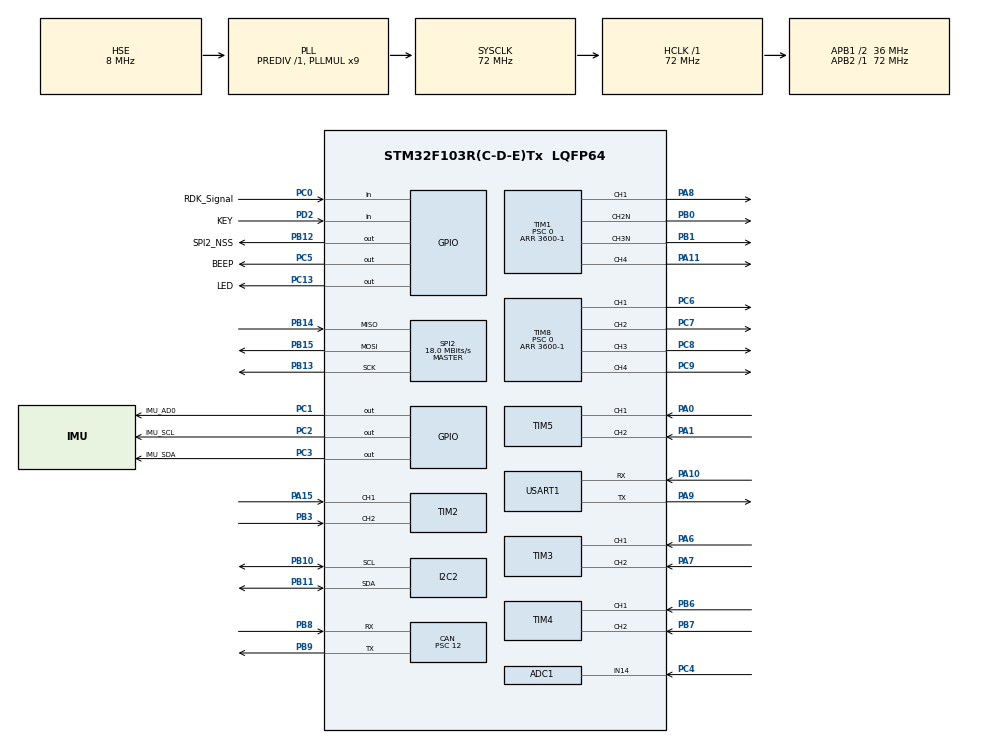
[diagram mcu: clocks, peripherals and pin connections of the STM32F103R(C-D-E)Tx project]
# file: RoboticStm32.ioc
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ADC1.Channel-0\#ChannelRegularConversion=ADC_CHANNEL_14
ADC1.ContinuousConvMode=ENABLE
ADC1.NbrOfConversion=1
ADC1.NbrOfConversionFlag=1
ADC1.Rank-0\#ChannelRegularConversion=1
ADC1.SamplingTime-0\#ChannelRegularConversion=ADC_SAMPLETIME_239CYCLES_5
ADC1.master=1
CAN.ABOM=ENABLE
CAN.BS1=CAN_BS1_2TQ
CAN.BS2=CAN_BS2_3TQ
CAN.CalculateBaudRate=499999
CAN.CalculateTimeBit=2000
CAN.CalculateTimeQuantum=333.33333333333337
CAN.Mode=CAN_MODE_NORMAL
CAN.NART=ENABLE
CAN.Prescaler=12
CAN.SJW=CAN_SJW_2TQ
Dma.Request0=USART1_TX
Dma.USART1_TX.0.Direction=DMA_MEMORY_TO_PERIPH
Dma.USART1_TX.0.Instance=DMA1_Channel4
Dma.USART1_TX.0.MemDataAlignment=DMA_MDATAALIGN_BYTE
Dma.USART1_TX.0.MemInc=DMA_MINC_ENABLE
Dma.USART1_TX.0.Mode=DMA_NORMAL
Dma.USART1_TX.0.PeriphDataAlignment=DMA_PDATAALIGN_BYTE
Dma.USART1_TX.0.PeriphInc=DMA_PINC_DISABLE
Dma.USART1_TX.0.Priority=DMA_PRIORITY_LOW
FREERTOS.Tasks01=defaultTask,24,128,StartDefaultTask,Default,NULL,Dynamic,NULL,NULL
FREERTOS.configTOTAL_HEAP_SIZE=20000
FREERTOS.configUSE_NEWLIB_REENTRANT=1
Mcu.Family=STM32F1
Mcu.Name=STM32F103R(C-D-E)Tx
Mcu.Package=LQFP64
NVIC.DMA1_Channel4_IRQn=true\:5\:0\:false\:false\:true\:true\:false\:true\:true
NVIC.PriorityGroup=NVIC_PRIORITYGROUP_4
NVIC.TIM6_IRQn=true\:15\:0\:false\:false\:true\:false\:false\:true\:true
NVIC.TimeBase=TIM6_IRQn
NVIC.TimeBaseIP=TIM6
NVIC.USB_LP_CAN1_RX0_IRQn=true\:5\:0\:false\:false\:true\:true\:true\:true\:true
PA0-WKUP.Signal=S_TIM5_CH1
PA1.Signal=S_TIM5_CH2
PA10.Mode=Asynchronous
PA10.Signal=USART1_RX
PA11.Signal=S_TIM1_CH4
PA13.Mode=Serial_Wire
PA13.Signal=SYS_JTMS-SWDIO
PA14.Mode=Serial_Wire
PA14.Signal=SYS_JTCK-SWCLK
PA15.Signal=S_TIM2_CH1_ETR
PA6.Signal=S_TIM3_CH1
PA7.Signal=S_TIM3_CH2
PA8.Signal=S_TIM1_CH1
PA9.Mode=Asynchronous
PA9.Signal=USART1_TX
PB0.Mode=PWM Generation2 CH2N
PB0.Signal=TIM1_CH2N
PB1.Mode=PWM Generation3 CH3N
PB1.Signal=TIM1_CH3N
PB10.Mode=I2C
PB10.Signal=I2C2_SCL
PB11.Mode=I2C
PB11.Signal=I2C2_SDA
PB12.GPIO_Label=SPI2_NSS
PB12.GPIO_PuPd=GPIO_NOPULL
PB12.GPIO_Speed=GPIO_SPEED_FREQ_HIGH
PB12.PinState=GPIO_PIN_SET
PB12.Signal=GPIO_Output
PB13.Mode=Full_Duplex_Master
PB13.Signal=SPI2_SCK
PB14.Mode=Full_Duplex_Master
PB14.Signal=SPI2_MISO
PB15.Mode=Full_Duplex_Master
PB15.Signal=SPI2_MOSI
PB3.Signal=S_TIM2_CH2
PB6.Signal=S_TIM4_CH1
PB7.Signal=S_TIM4_CH2
PB8.Mode=CAN_Activate
PB8.Signal=CAN_RX
PB9.Mode=CAN_Activate
PB9.Signal=CAN_TX
PC0.GPIO_Label=RDK_Signal
PC0.GPIO_PuPd=GPIO_PULLDOWN
PC0.Signal=GPIO_Input
PC1.GPIO_Label=IMU_AD0
PC1.Signal=GPIO_Output
PC13-TAMPER-RTC.GPIO_Label=LED
PC13-TAMPER-RTC.Signal=GPIO_Output
PC2.GPIO_Label=IMU_SCL
PC2.GPIO_ModeDefaultOutputPP=GPIO_MODE_OUTPUT_OD
PC2.GPIO_PuPd=GPIO_PULLUP
PC2.GPIO_Speed=GPIO_SPEED_FREQ_LOW
PC2.PinState=GPIO_PIN_SET
PC2.Signal=GPIO_Output
PC3.GPIO_Label=IMU_SDA
PC3.GPIO_ModeDefaultOutputPP=GPIO_MODE_OUTPUT_OD
PC3.GPIO_PuPd=GPIO_PULLUP
PC3.GPIO_Speed=GPIO_SPEED_FREQ_LOW
PC3.PinState=GPIO_PIN_SET
PC3.Signal=GPIO_Output
PC4.Signal=ADCx_IN14
PC5.GPIO_Label=BEEP
PC5.GPIO_Speed=GPIO_SPEED_FREQ_LOW
PC5.Signal=GPIO_Output
PC6.Signal=S_TIM8_CH1
PC7.Signal=S_TIM8_CH2
PC8.Signal=S_TIM8_CH3
PC9.Signal=S_TIM8_CH4
PD0-OSC_IN.Mode=HSE-External-Oscillator
PD0-OSC_IN.Signal=RCC_OSC_IN
PD1-OSC_OUT.Mode=HSE-External-Oscillator
PD1-OSC_OUT.Signal=RCC_OSC_OUT
PD2.GPIO_Label=KEY
PD2.GPIO_PuPd=GPIO_PULLUP
PD2.Signal=GPIO_Input
ProjectManager.HeapSize=0x200
ProjectManager.StackSize=0x400
ProjectManager.TargetToolchain=STM32CubeIDE
RCC.ADCPresc=RCC_ADCPCLK2_DIV6
RCC.AHBFreq_Value=72000000
RCC.APB1CLKDivider=RCC_HCLK_DIV2
RCC.APB1Freq_Value=36000000
RCC.APB1TimFreq_Value=72000000
RCC.APB2Freq_Value=72000000
RCC.APB2TimFreq_Value=72000000
RCC.HCLKFreq_Value=72000000
RCC.PLLMUL=RCC_PLL_MUL9
RCC.PLLSourceVirtual=RCC_PLLSOURCE_HSE
RCC.SYSCLKFreq_VALUE=72000000
RCC.SYSCLKSource=RCC_SYSCLKSOURCE_PLLCLK
RCC.USBFreq_Value=72000000
SH.ADCx_IN14.0=ADC1_IN14,IN14
SH.S_TIM1_CH1.0=TIM1_CH1,PWM Generation1 CH1
SH.S_TIM1_CH4.0=TIM1_CH4,PWM Generation4 CH4
SH.S_TIM2_CH1_ETR.0=TIM2_CH1,Encoder_Interface
SH.S_TIM2_CH2.0=TIM2_CH2,Encoder_Interface
SH.S_TIM3_CH1.0=TIM3_CH1,Encoder_Interface
SH.S_TIM3_CH2.0=TIM3_CH2,Encoder_Interface
SH.S_TIM4_CH1.0=TIM4_CH1,Encoder_Interface
SH.S_TIM4_CH2.0=TIM4_CH2,Encoder_Interface
SH.S_TIM5_CH1.0=TIM5_CH1,Encoder_Interface
SH.S_TIM5_CH2.0=TIM5_CH2,Encoder_Interface
SH.S_TIM8_CH1.0=TIM8_CH1,PWM Generation1 CH1
SH.S_TIM8_CH2.0=TIM8_CH2,PWM Generation2 CH2
SH.S_TIM8_CH3.0=TIM8_CH3,PWM Generation3 CH3
SH.S_TIM8_CH4.0=TIM8_CH4,PWM Generation4 CH4
SPI2.BaudRatePrescaler=SPI_BAUDRATEPRESCALER_2
SPI2.CalculateBaudRate=18.0 MBits/s
SPI2.Direction=SPI_DIRECTION_2LINES
SPI2.Mode=SPI_MODE_MASTER
SPI2.VirtualType=VM_MASTER
TIM1.AutoReloadPreload=TIM_AUTORELOAD_PRELOAD_ENABLE
TIM1.Channel-PWM\ Generation1\ CH1=TIM_CHANNEL_1
TIM1.Channel-PWM\ Generation2\ CH2N=TIM_CHANNEL_2
TIM1.Channel-PWM\ Generation3\ CH3N=TIM_CHANNEL_3
TIM1.Channel-PWM\ Generation4\ CH4=TIM_CHANNEL_4
TIM1.Period=3600-1
TIM1.Prescaler=0
TIM2.AutoReloadPreload=TIM_AUTORELOAD_PRELOAD_ENABLE
TIM2.EncoderMode=TIM_ENCODERMODE_TI12
TIM2.IC1Filter=0xf
TIM2.IC1Polarity=TIM_ICPOLARITY_RISING
TIM2.IC2Filter=0xf
TIM2.IC2Polarity=TIM_ICPOLARITY_RISING
TIM3.AutoReloadPreload=TIM_AUTORELOAD_PRELOAD_ENABLE
TIM3.EncoderMode=TIM_ENCODERMODE_TI12
TIM3.IC1Filter=0xf
TIM3.IC1Polarity=TIM_ICPOLARITY_RISING
TIM3.IC2Filter=0xf
TIM3.IC2Polarity=TIM_ICPOLARITY_RISING
TIM4.AutoReloadPreload=TIM_AUTORELOAD_PRELOAD_ENABLE
TIM4.EncoderMode=TIM_ENCODERMODE_TI12
TIM4.IC1Filter=0xf
TIM4.IC1Polarity=TIM_ICPOLARITY_FALLING
TIM4.IC2Filter=0xf
TIM4.IC2Polarity=TIM_ICPOLARITY_RISING
TIM5.AutoReloadPreload=TIM_AUTORELOAD_PRELOAD_ENABLE
TIM5.EncoderMode=TIM_ENCODERMODE_TI12
TIM5.IC1Filter=0xf
TIM5.IC1Polarity=TIM_ICPOLARITY_FALLING
TIM5.IC2Filter=0xf
TIM5.IC2Polarity=TIM_ICPOLARITY_RISING
TIM8.AutoReloadPreload=TIM_AUTORELOAD_PRELOAD_ENABLE
TIM8.Channel-PWM\ Generation1\ CH1=TIM_CHANNEL_1
TIM8.Channel-PWM\ Generation2\ CH2=TIM_CHANNEL_2
TIM8.Channel-PWM\ Generation3\ CH3=TIM_CHANNEL_3
TIM8.Channel-PWM\ Generation4\ CH4=TIM_CHANNEL_4
TIM8.Period=3600-1
TIM8.Prescaler=0
USART1.VirtualMode=VM_ASYNC
VP_FREERTOS_VS_CMSIS_V2.Mode=CMSIS_V2
VP_SYS_VS_tim6.Mode=TIM6
VP_TIM1_VS_ClockSourceINT.Mode=Internal
VP_TIM8_VS_ClockSourceINT.Mode=Internal
board=custom

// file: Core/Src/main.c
/* USER CODE BEGIN Header */
/**
  ******************************************************************************
  * @file           : main.c
  * @brief          : Main program body
  ******************************************************************************
  * @attention
  *
  * Copyright (c) 2025 STMicroelectronics.
  * All rights reserved.
  *
  * This software is licensed under terms that can be found in the LICENSE file
  * in the root directory of this software component.
  * If no LICENSE file comes with this software, it is provided AS-IS.
  *
  ******************************************************************************
  */
/* USER CODE END Header */
#include "main.h"
#include "cmsis_os.h"
#include "adc.h"
#include "can.h"
#include "dma.h"
#include "i2c.h"
#include "spi.h"
#include "tim.h"
#include "usart.h"
#include "gpio.h"

/* USER CODE BEGIN Includes */
#include "encoder.h"
#include "oled.h"
#include "pid.h"
/* USER CODE END Includes */

void SystemClock_Config(void);
void MX_FREERTOS_Init(void);

int main(void)
{

  /* MCU Configuration--------------------------------------------------------*/

  /* Reset of all peripherals, Initializes the Flash interface and the Systick. */
  HAL_Init();

  /* Configure the system clock */
  SystemClock_Config();

  /* Initialize all configured peripherals */
  MX_GPIO_Init();
  MX_DMA_Init();
  MX_I2C2_Init();
  MX_TIM1_Init();
  MX_TIM8_Init();
  MX_TIM3_Init();
  MX_USART1_UART_Init();
  MX_TIM2_Init();
  MX_TIM4_Init();
  MX_TIM5_Init();
  MX_ADC1_Init();
  MX_SPI2_Init();
  MX_CAN_Init();

  /* Init scheduler */
  osKernelInitialize();

  /* Call init function for freertos objects (in cmsis_os2.c) */
  MX_FREERTOS_Init();

  /* Start scheduler */
  osKernelStart();

  /* We should never get here as control is now taken by the scheduler */

  /* Infinite loop */
    while (1) {

    }
}

void SystemClock_Config(void)
{
  RCC_OscInitTypeDef RCC_OscInitStruct = {0};
  RCC_ClkInitTypeDef RCC_ClkInitStruct = {0};
  RCC_PeriphCLKInitTypeDef PeriphClkInit = {0};

  /** Initializes the RCC Oscillators according to the specified parameters
  * in the RCC_OscInitTypeDef structure.
  */
  RCC_OscInitStruct.OscillatorType = RCC_OSCILLATORTYPE_HSE;
  RCC_OscInitStruct.HSEState = RCC_HSE_ON;
  RCC_OscInitStruct.HSEPredivValue = RCC_HSE_PREDIV_DIV1;
  RCC_OscInitStruct.HSIState = RCC_HSI_ON;
  RCC_OscInitStruct.PLL.PLLState = RCC_PLL_ON;
  RCC_OscInitStruct.PLL.PLLSource = RCC_PLLSOURCE_HSE;
  RCC_OscInitStruct.PLL.PLLMUL = RCC_PLL_MUL9;
  if (HAL_RCC_OscConfig(&RCC_OscInitStruct) != HAL_OK)
  {
    Error_Handler();
  }

  /** Initializes the CPU, AHB and APB buses clocks
  */
  RCC_ClkInitStruct.ClockType = RCC_CLOCKTYPE_HCLK|RCC_CLOCKTYPE_SYSCLK
                              |RCC_CLOCKTYPE_PCLK1|RCC_CLOCKTYPE_PCLK2;
  RCC_ClkInitStruct.SYSCLKSource = RCC_SYSCLKSOURCE_PLLCLK;
  RCC_ClkInitStruct.AHBCLKDivider = RCC_SYSCLK_DIV1;
  RCC_ClkInitStruct.APB1CLKDivider = RCC_HCLK_DIV2;
  RCC_ClkInitStruct.APB2CLKDivider = RCC_HCLK_DIV1;

  if (HAL_RCC_ClockConfig(&RCC_ClkInitStruct, FLASH_LATENCY_2) != HAL_OK)
  {
    Error_Handler();
  }
  PeriphClkInit.PeriphClockSelection = RCC_PERIPHCLK_ADC;
  PeriphClkInit.AdcClockSelection = RCC_ADCPCLK2_DIV6;
  if (HAL_RCCEx_PeriphCLKConfig(&PeriphClkInit) != HAL_OK)
  {
    Error_Handler();
  }
}

void HAL_TIM_PeriodElapsedCallback(TIM_HandleTypeDef *htim)
{
  if (htim->Instance == TIM6) {
    HAL_IncTick();
  }
}

void Error_Handler(void)
{
    __disable_irq();
    while (1) {
    }
}

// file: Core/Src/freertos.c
/* USER CODE BEGIN Header */
/**
  ******************************************************************************
  * File Name          : freertos.c
  * Description        : Code for freertos applications
  ******************************************************************************
  * @attention
  *
  * Copyright (c) 2025 STMicroelectronics.
  * All rights reserved.
  *
  * This software is licensed under terms that can be found in the LICENSE file
  * in the root directory of this software component.
  * If no LICENSE file comes with this software, it is provided AS-IS.
  *
  ******************************************************************************
  */
/* USER CODE END Header */

#include "FreeRTOS.h"
#include "task.h"
#include "main.h"
#include "cmsis_os.h"

/* USER CODE BEGIN Includes */
#include <stdio.h>
#include <string.h>
#include "beef.h"
#include "oled.h"
#include "voltage.h"
#include "pid.h"
#include "kinematics.h"
#include "pose.h"
#include "can_mid.h"
/* USER CODE END Includes */

/* Definitions for defaultTask */
osThreadId_t defaultTaskHandle;
const osThreadAttr_t defaultTask_attributes = {
        .name = "defaultTask",
        .stack_size = 128 * 4,
        .priority = (osPriority_t) osPriorityNormal,
};

/* USER CODE BEGIN FunctionPrototypes */
void IMU_Task(void *argument);

void RTOS_Init(void);

void CAN_Task(void *argument);

void PIDTask(void *arg);

void KinematicsTask(void *arg);

/* CAN中断 */
void HAL_CAN_RxFifo0MsgPendingCallback(CAN_HandleTypeDef *hcan) {
    if (hcan->Instance == CAN1) {

    }
}

/* USER CODE END FunctionPrototypes */

void StartDefaultTask(void *argument);

void MX_FREERTOS_Init(void); /* (MISRA C 2004 rule 8.1) */

void MX_FREERTOS_Init(void) {
    /* USER CODE BEGIN Init */
    RTOS_Init();
    /* USER CODE END Init */

    /* Create the thread(s) */
    /* creation of defaultTask */
    defaultTaskHandle = osThreadNew(StartDefaultTask, NULL, &defaultTask_attributes);

    /* USER CODE BEGIN RTOS_THREADS */
    /* add threads, ... */
    xTaskCreate(IMU_Task, "IMU", 1024, NULL, osPriorityNormal, NULL);
    xTaskCreate(CAN_Task, "CAN", 128 * 4, NULL, osPriorityNormal, NULL);
    xTaskCreate(PIDTask, "PID", 128 * 4, NULL, osPriorityNormal, NULL);
    xTaskCreate(KinematicsTask, "Kinematic", 128 * 2, NULL, osPriorityNormal, NULL);

    /* USER CODE END RTOS_THREADS */

}

void StartDefaultTask(void *argument) {
    /* USER CODE BEGIN StartDefaultTask */
    /* Infinite loop */
    float voltage;
    while (1) {
        voltage = ADC_Voltage_Actual();
        if (voltage < 9.50f) {
            Buzzer_ON_Time();
        }
        CanMid_SendVoltage(voltage);
        OLED_ShowVoltage(88, 2, voltage, 16);
        vTaskDelay(200);
    }

    /* USER CODE END StartDefaultTask */
}

/* USER CODE BEGIN Application */
// 外设初始
void RTOS_Init(void) {
    OLED_Init();
    ADC_Voltage_Init();
    Motor_Init();
    Encoder_Init();
    PID_Init();
    CAN_Init();
    CanMid_Init();
    // 等待RDK的CAN初始化完�?
//    while(HAL_GPIO_ReadPin(RDK_Signal_GPIO_Port, RDK_Signal_Pin) != GPIO_PIN_SET);
//    LED_ON();
//    HAL_Delay(200);
//    LED_OFF();
}

// IMU任务
void IMU_Task(void *argument) {
    /* 传感器初始化 */
    ICM20948_Init();
    AK09916_Init();
    /* 数据缓冲�?????? */
    ImuReal accelReal, gyroReal, magReal;
    /* Mahony滤波器初始化 */
    MahonyFilter filter = {
            .Kp = 0.3f,
            .Ki = 0.005f,
            .integralFBx = 0,
            .integralFBy = 0,
            .integralFBz = 0
    };
    Quaternion quat = {1.0f, 0.0f, 0.0f, 0.0f};
    EulerAngles euler = {0};
    /* 初始姿�?�初始化标志 */
    uint32_t send_counter = 0;
    /* 控制发�?�周�?????? */
    const TickType_t xFrequency = pdMS_TO_TICKS(50); // 100Hz任务频率
    TickType_t xLastWakeTime = xTaskGetTickCount();
    while (1) {
        /* 真实传感器数�?????? */
        ICM20948_RealData(&accelReal, &gyroReal);
        AK09916_RealData(&magReal);
        CanMid_SendImu(&accelReal, &gyroReal);
        vTaskDelay(5);
        /* Mahony滤波更新姿�?? */
        Pose_MahonyUpdate(&filter, 0.01f, &quat,
                          &accelReal, &gyroReal);
        CanMid_SendQuat(&quat);

        /* 精确周期延迟 */
        vTaskDelayUntil(&xLastWakeTime, xFrequency);
    }
}

// CAN任务
void CAN_Task(void *argument) {
    /* can缓存 */
    CAN_RxHeaderTypeDef RxMessage = {0};
    uint8_t RxData[8] = {0};
    float RealData[2] = {0};
    /* 标志�????? */
    uint8_t linear_flag = 0, angular_flag = 0;
    /* 指令存储 */
    Odom odom;
    while (1) {
        /* 接收并解�????? */
        if (CAN_ReceiveFlag()) {
            // 接收数据
            CAN_ReceiveMessage(&RxMessage, RxData);
            // 转换字节为真�????
            CanMid_BytesToFloat(RxData, RealData);
            switch (RxMessage.StdId) {
                case CMD_ANGULAR:
                    angular_flag = 1;
                    odom.omega = RealData[0];
                    break;
                case CMD_LINEAR:
                    linear_flag = 1;
                    odom.v_tx = RealData[0];
                    odom.v_ty = RealData[1];
                    break;
                case CMD_BUZZER:
                    Buzzer_LED_OnTime(RxData[0], RxData[1]);
                    break;
                default:
                    break;
            }
            /* 拼接线�?�度、角速度指令 */
            if (angular_flag == 1 && linear_flag == 1) {
                LED_ON();
                // 清零标志
                angular_flag = 0;
                linear_flag = 0;
                UART_SendFloat(&huart1, odom.v_tx);
                UART_SendFloat(&huart1, odom.v_ty);
                // 写队
                CanMid_WriteOdom(&odom);
            }
        }
        vTaskDelay(10);
    }
}

// PID任务
void PIDTask(void *arg) {
    float v_tx, v_ty, omega;
    const TickType_t xFrequency = pdMS_TO_TICKS(10);  // 10ms控制周期
    TickType_t xLastWakeTime = xTaskGetTickCount();
    while (1) {
        PID_Controller(&v_tx, &v_ty, &omega);
        CanMid_SendOdom(v_tx, v_ty, omega);
        vTaskDelayUntil(&xLastWakeTime, xFrequency);
    }
}

// 运动�????
void KinematicsTask(void *arg) {
    float target_rpm[4] = {0};
    float duty[4] = {0};
    Odom odom;
    while (1) {
        CanMid_ReadOdom(&odom);
        // 逆运动学解算
        Kinematics_Inverse(odom.v_tx, odom.v_ty, odom.omega, target_rpm);
        // 转换为占空比并限
        Kinematics_RpmToDuty(target_rpm, duty);
        // 设置PID目标
        PID_SetTarget(duty);
//        LED_OFF();
    }
}

/* USER CODE END Application */
